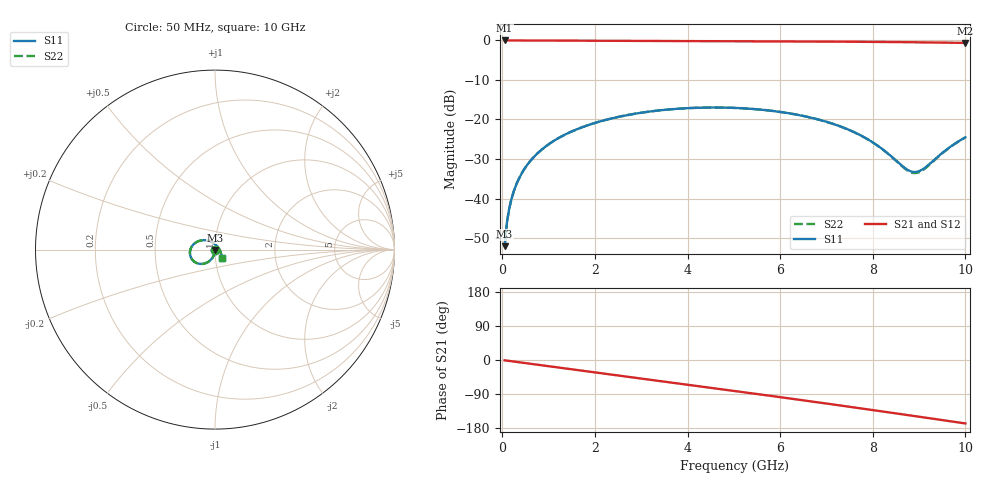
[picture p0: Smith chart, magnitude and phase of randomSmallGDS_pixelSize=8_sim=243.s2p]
! freq	dB(S11)	phase(S11)	dB(S12)	phase(S12)
!  dB(S21)	phase(S21)	dB(S22)	phase(S22)
!S-par simulation data
#  GHz  S  DB  R 50
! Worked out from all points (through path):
!   200 points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, 50 MHz to 10 GHz, reference 50 ohm
!   highest |S21| = 0.00 dB at 50 MHz (marker M1); lowest = -0.6 dB at 10 GHz (marker M2)
!   group delay of S21, straight-line fit = 46.2 ps
!   lowest |S11| = -52.1 dB at 50 MHz (marker M3), VSWR 1.01, Z = 50 - j0.25 ohm
!   |S11| at or under -10 dB: start of sweep to end of sweep
!   |S22| runs from -52.1 to -17.0 dB; largest |S21 - S12| = 0
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0.05  -52.06 -90.5  -0.00 -0.8  -0.00 -0.8  -52.06 -90.5
0.1  -46.04 -91.6  -0.00 -1.7  -0.00 -1.7  -46.04 -91.6
0.15  -42.52 -92.5  -0.00 -2.5  -0.00 -2.5  -42.52 -92.5
0.2  -40.03 -93.4  -0.00 -3.3  -0.00 -3.3  -40.03 -93.4
0.35  -35.19 -96.1  -0.00 -5.8  -0.00 -5.8  -35.19 -96.1
0.5  -32.12 -98.7  -0.01 -8.2  -0.01 -8.2  -32.12 -98.7
0.7  -29.26 -102.2  -0.02 -11.5  -0.02 -11.5  -29.26 -102.2
1  -26.28 -107.3  -0.03 -16.4  -0.03 -16.4  -26.28 -107.3
1.75  -21.85 -119.8  -0.06 -28.6  -0.06 -28.6  -21.85 -119.8
2.5  -19.36 -132.2  -0.09 -40.8  -0.09 -40.8  -19.36 -132.1
3.4  -17.69 -147.1  -0.14 -55.4  -0.14 -55.4  -17.69 -147.1
4.25  -17.02 -161.4  -0.18 -69.2  -0.18 -69.2  -17.02 -161.4
5.05  -17.08 -175.3  -0.21 -82.3  -0.21 -82.3  -17.08 -175.2
5.9  -17.93 169.2  -0.24 -96.3  -0.24 -96.3  -17.93 169.4
6.7  -19.63 153.4  -0.27 -109.8  -0.27 -109.8  -19.63 153.6
7.65  -23.50 130.1  -0.33 -126.0  -0.33 -126.0  -23.51 130.5
8.35  -28.83 100.0  -0.39 -138.2  -0.39 -138.2  -28.90 100.9
8.75  -32.72 60.6  -0.44 -145.2  -0.44 -145.2  -32.93 61.3
8.95  -33.25 30.1  -0.46 -148.8  -0.46 -148.8  -33.52 30.2
9.1  -32.43 8.4  -0.48 -151.4  -0.48 -151.4  -32.67 7.9
9.6  -27.54 -34.3  -0.56 -160.3  -0.56 -160.3  -27.64 -35.1
10  -24.51 -50.9  -0.62 -167.4  -0.62 -167.4  -24.57 -51.5
